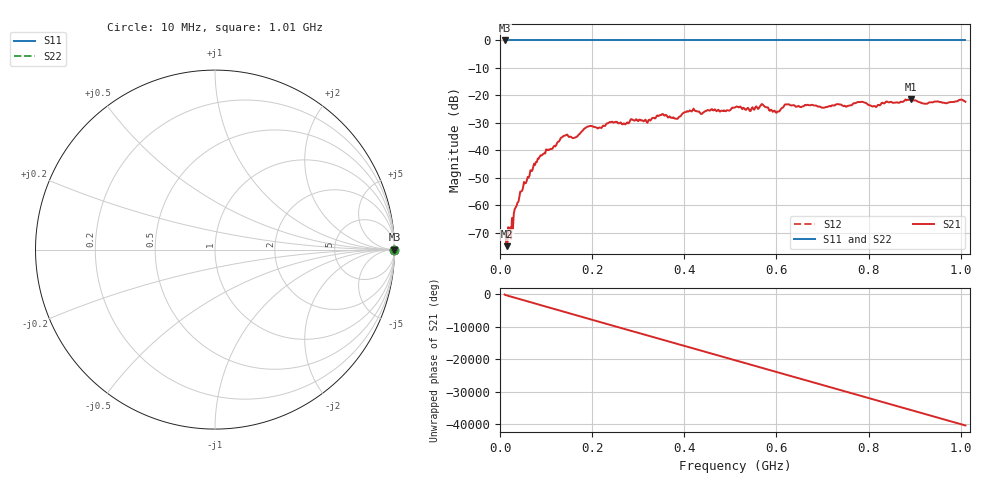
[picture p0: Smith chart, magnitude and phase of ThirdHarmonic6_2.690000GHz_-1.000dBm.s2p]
! 8/17/2025 6:22:43 AM
! C:\ANRITSUVNA\TEMP\TEMP.S2P
! CHANNEL.1
! TR.MEASUREMENT
! RAW.DATA
! RF.CORRECTION.OFF
! AVERAGING.OFF
! IF.BANDWIDTH: 5KHZ
! SWEEPTYPE:  FREQ.SWEEP(Linear)
! Reference Plane Port Info
! PORT:  PORT1  PORT2
! DISTANCE:  0  m  0  m
! TIME:  0  s  0  s
! PHASE.OFFSET:  0  deg.  0  deg.
! LOSS:  0  dB  0  dB
! REF.LOSS:  0  dB  0  dB
! REF.FREQ:  0  Hz  0  Hz
! Power Info
! POWER:  -20  dBm  -20  dBm
! EFF.POWER:  -20  dBm  -20  dBm
! SOURCE.ATTEN:  0  dB  0  dB
! TEST.ATTEN:  0  dB  0  dB
# GHZ S RI R 50.0
! FREQ.GHZ  S11RE  S11IM  S21RE  S21IM  S12RE  S12IM  S22RE  S22IM
!; PortSelection: Port_12
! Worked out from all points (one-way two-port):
!   501 points, 10 MHz to 1.01 GHz, reference 50 ohm
!   highest |S21| = -21.43 dB at 892 MHz (marker M1); lowest = -74.9 dB at 16 MHz (marker M2)
!   lowest |S11| = 0.0 dB at 10 MHz (marker M3)
!   |S11| at or under -10 dB: nowhere
!   |S22| runs from 0.0 to 0.0 dB; largest |S21 - S12| = 1.1
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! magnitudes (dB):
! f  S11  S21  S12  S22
! 10 MHz  0.0  -70.4  0.0  0.0
! 16 MHz  0.0  -74.9  0.0  0.0
! 24 MHz  0.0  -72.3  0.0  0.0
! 34 MHz  0.0  -60.8  0.0  0.0
! 48 MHz  0.0  -54.7  0.0  0.0
! 84 MHz  0.0  -43.0  0.0  0.0
! 136 MHz  0.0  -35.1  0.0  0.0
! 162 MHz  0.0  -35.4  0.0  0.0
! 178 MHz  0.0  -33.0  0.0  0.0
! 344 MHz  0.0  -27.5  0.0  0.0
! 382 MHz  0.0  -28.4  0.0  0.0
! 416 MHz  0.0  -25.9  0.0  0.0
! 510 MHz  0.0  -24.4  0.0  0.0
! 570 MHz  0.0  -23.3  0.0  0.0
! 602 MHz  0.0  -25.9  0.0  0.0
! 622 MHz  0.0  -23.3  0.0  0.0
! 678 MHz  0.0  -23.5  0.0  0.0
! 782 MHz  0.0  -22.4  0.0  0.0
! 814 MHz  0.0  -24.0  0.0  0.0
! 844 MHz  0.0  -22.6  0.0  0.0
! 892 MHz  0.0  -21.4  0.0  0.0
! 1.01 GHz  0.0  -22.3  0.0  0.0
